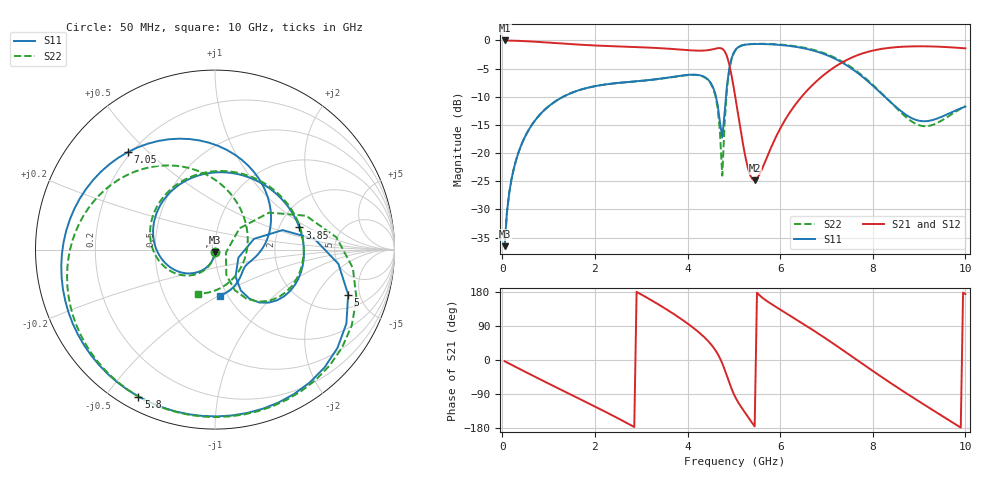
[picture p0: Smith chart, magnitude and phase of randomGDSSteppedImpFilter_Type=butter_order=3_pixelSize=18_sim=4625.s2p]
! freq	dB(S11)	phase(S11)	dB(S12)	phase(S12)
!  dB(S21)	phase(S21)	dB(S22)	phase(S22)
!S-par simulation data
#  GHz  S  DB  R 50
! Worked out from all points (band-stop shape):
!   200 points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, 50 MHz to 10 GHz, reference 50 ohm
!   highest |S21| = -0.01 dB at 50 MHz (marker M1); lowest = -24.8 dB at 5.45 GHz (marker M2)
!   |S21| within 3 dB of the highest: start of sweep to 4.858 GHz; 7.557 GHz to end of sweep
!   lowest |S11| = -36.5 dB at 50 MHz (marker M3), VSWR 1.03, Z = 49.9 - j1.49 ohm
!   |S11| at or under -10 dB: start of sweep to 1.315 GHz; 4.614 GHz to 4.831 GHz (217 MHz wide, 4.6 % of centre); 8.26 GHz to end of sweep
!   |S22| runs from -36.5 to -0.6 dB; largest |S21 - S12| = 0
!   S11 on the Smith chart (normalised r, x): 50 MHz: 1.00, -0.03; 3.85 GHz: 2.58, +0.83; 5 GHz: 2.99, -3.87; 5.8 GHz: 0.05, -0.61; 7.05 GHz: 0.19, +0.43; 10 GHz: 0.92, -0.51
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0.05  -36.53 -93.0  -0.01 -3.2  -0.01 -3.2  -36.53 -92.7
0.2  -24.60 -103.3  -0.04 -12.7  -0.04 -12.7  -24.60 -102.0
0.5  -16.94 -123.4  -0.13 -31.5  -0.13 -31.5  -16.94 -120.4
1.75  -8.61 156.6  -0.79 -107.6  -0.79 -107.6  -8.60 166.9
2.65  -7.43 99.0  -1.11 -163.6  -1.11 -163.6  -7.44 112.7
3.4  -6.81 48.1  -1.37 144.6  -1.37 144.6  -6.83 60.4
3.85  -6.27 14.7  -1.63 109.3  -1.63 109.3  -6.30 23.6
4.55  -8.29 -50.0  -1.57 34.7  -1.57 34.7  -8.47 -50.3
4.65  -11.39 -57.8  -1.38 16.2  -1.38 16.2  -11.97 -64.0
4.75  -17.22 -19.0  -1.47 -8.9  -1.47 -8.9  -24.00 -15.9
4.85  -8.14 16.1  -2.77 -41.8  -2.77 -41.8  -8.74 34.3
5  -2.12 -18.7  -8.50 -89.9  -8.50 -89.9  -2.22 -7.6
5.05  -1.51 -29.4  -11.00 -102.2  -11.00 -102.2  -1.57 -19.1
5.45  -0.64 -84.2  -24.80 -175.2  -24.80 -175.2  -0.62 -75.0
5.8  -0.69 -117.5  -19.10 148.6  -19.10 148.6  -0.64 -106.3
6.25  -1.03 -156.7  -12.28 114.3  -12.28 114.3  -0.94 -140.7
6.7  -1.77 163.9  -7.90 79.6  -7.90 79.6  -1.63 -173.0
7.05  -2.75 131.7  -5.45 51.4  -5.45 51.4  -2.59 162.0
7.75  -6.27 63.8  -2.39 -7.7  -2.39 -7.7  -6.08 111.4
8.35  -10.69 10.0  -1.32 -57.8  -1.32 -57.8  -10.69 65.9
9.05  -14.32 -28.7  -1.04 -113.3  -1.04 -113.3  -15.17 -9.2
10  -11.74 -84.3  -1.41 174.1  -1.41 174.1  -11.64 -110.6
